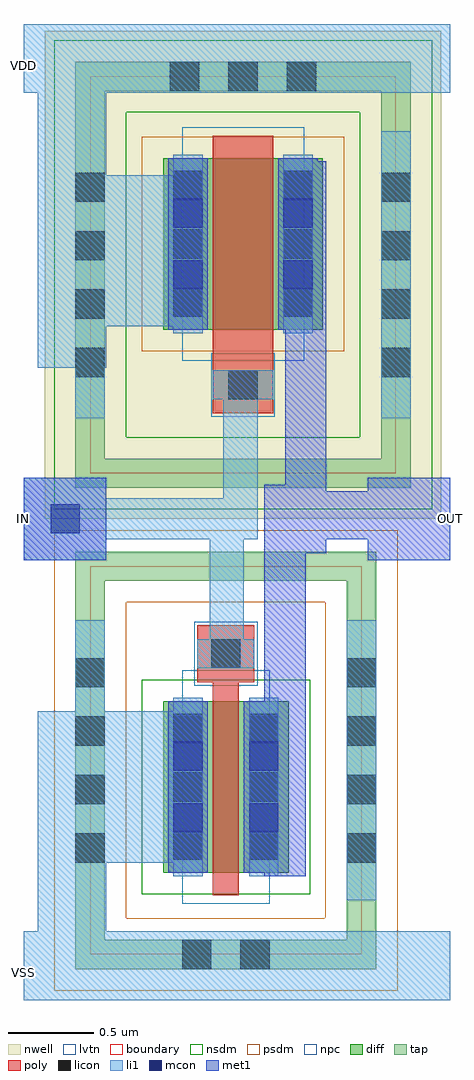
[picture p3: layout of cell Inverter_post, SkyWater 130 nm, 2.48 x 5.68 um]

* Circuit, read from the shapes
.subckt Inverter_post IN OUT VDD VSS
XM1 OUT IN VSS VSS sky130_fd_pr__nfet_01v8_lvt w=1 l=0.15
XM2 OUT IN VDD VDD sky130_fd_pr__pfet_01v8_lvt w=1 l=0.35
.ends

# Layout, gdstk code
import gdstk
lib = gdstk.Library(unit=1e-6, precision=1e-09)
def R(c, l, rs):  # rectangles x0, y0, x1, y1
    for r in rs: c.add(gdstk.rectangle(r[:2], r[2:], *l))
def A(c, l, x, y, w, h, nx, ny, dx, dy):  # array of equal rectangles
    R(c, l, [(x+i*dx, y+j*dy, x+i*dx+w, y+j*dy+h) for i in range(nx) for j in range(ny)])
nwell = (64, 20)
diff = (65, 20)
tap = (65, 44)
poly = (66, 20)
licon = (66, 44)
li1 = (67, 20)
mcon = (67, 44)
met1 = (68, 20)
nsdm = (93, 44)
psdm = (94, 20)
npc = (95, 20)
lvtn = (125, 44)
boundary = (235, 4)

sky130_fd_pr__nfet_01v8_ = lib.new_cell('sky130_fd_pr__nfet_01v8_lvt_THKQM4')
R(sky130_fd_pr__nfet_01v8_, diff, [(-0.365,-0.655,0.365,0.345)])
R(sky130_fd_pr__nfet_01v8_, tap, [(-0.875,-1.215,0.875,-1.045), (-0.875,-1.045,-0.705,1.045), (0.705,-1.045,0.875,1.045), (-0.875,1.045,0.875,1.215)])
R(sky130_fd_pr__nfet_01v8_, poly, [(-0.075,-0.785,0.075,0.455), (-0.165,0.455,0.165,0.785)])
A(sky130_fd_pr__nfet_01v8_, licon, -0.875, -0.595, 0.17, 0.17, 1, 4, 0, 0.34)
A(sky130_fd_pr__nfet_01v8_, licon, 0.705, -0.595, 0.17, 0.17, 1, 4, 0, 0.34)
A(sky130_fd_pr__nfet_01v8_, licon, -0.305, -0.58, 0.17, 0.17, 1, 3, 0, 0.34)
A(sky130_fd_pr__nfet_01v8_, licon, 0.135, -0.58, 0.17, 0.17, 1, 3, 0, 0.34)
R(sky130_fd_pr__nfet_01v8_, licon, [(-0.255,-1.215,-0.085,-1.045), (0.085,-1.215,0.255,-1.045), (-0.085,0.535,0.085,0.705)])
R(sky130_fd_pr__nfet_01v8_, li1, [(-0.475,-1.215,0.475,-1.045), (-0.875,-0.815,-0.705,0.815), (0.705,-0.815,0.875,0.815), (-0.305,-0.675,-0.135,0.365), (0.135,-0.675,0.305,0.365), (-0.165,0.535,0.165,0.705)])
R(sky130_fd_pr__nfet_01v8_, mcon, [(-0.305,-0.42,-0.135,-0.25), (0.135,-0.42,0.305,-0.25), (-0.305,-0.06,-0.135,0.11), (0.135,-0.06,0.305,0.11)])
R(sky130_fd_pr__nfet_01v8_, met1, [(-0.335,-0.655,-0.105,0.345), (0.105,-0.655,0.335,0.345)])
R(sky130_fd_pr__nfet_01v8_, nsdm, [(-0.49,-0.78,0.49,0.47)])
R(sky130_fd_pr__nfet_01v8_, psdm, [(-1,-1.34,1,-0.92), (-1,-0.92,-0.58,0.92), (0.58,-0.92,1,0.92), (-1,0.92,1,1.34)])
R(sky130_fd_pr__nfet_01v8_, npc, [(-0.185,0.435,0.185,0.805)])
R(sky130_fd_pr__nfet_01v8_, lvtn, [(-0.255,-0.835,0.255,0.525)])
R(sky130_fd_pr__nfet_01v8_, boundary, [(-0.79,-1.13,0.79,1.13)])

sky130_fd_pr__pfet_01v8_ = lib.new_cell('sky130_fd_pr__pfet_01v8_lvt_JMGADZ')
R(sky130_fd_pr__pfet_01v8_, nwell, [(-1.155,-1.42,1.155,1.42)])
R(sky130_fd_pr__pfet_01v8_, diff, [(-0.465,-0.32,0.465,0.68)])
R(sky130_fd_pr__pfet_01v8_, tap, [(-0.975,-1.24,0.975,-1.07), (-0.975,-1.07,-0.805,1.07), (0.805,-1.07,0.975,1.07), (-0.975,1.07,0.975,1.24)])
R(sky130_fd_pr__pfet_01v8_, poly, [(-0.175,-0.805,0.175,0.81)])
A(sky130_fd_pr__pfet_01v8_, licon, -0.975, -0.595, 0.17, 0.17, 1, 4, 0, 0.34)
A(sky130_fd_pr__pfet_01v8_, licon, 0.805, -0.595, 0.17, 0.17, 1, 4, 0, 0.34)
A(sky130_fd_pr__pfet_01v8_, licon, -0.405, -0.245, 0.17, 0.17, 1, 3, 0, 0.34)
A(sky130_fd_pr__pfet_01v8_, licon, 0.235, -0.245, 0.17, 0.17, 1, 3, 0, 0.34)
A(sky130_fd_pr__pfet_01v8_, licon, -0.425, 1.07, 0.17, 0.17, 3, 1, 0.34, 0)
R(sky130_fd_pr__pfet_01v8_, licon, [(-0.085,-0.725,0.085,-0.555)])
R(sky130_fd_pr__pfet_01v8_, li1, [(-0.975,-0.835,-0.805,0.835), (0.805,-0.835,0.975,0.835), (-0.175,-0.725,0.175,-0.555), (-0.405,-0.34,-0.235,0.7), (0.235,-0.34,0.405,0.7), (-0.575,1.07,0.575,1.24)])
R(sky130_fd_pr__pfet_01v8_, mcon, [(-0.405,-0.085,-0.235,0.085), (0.235,-0.085,0.405,0.085), (-0.405,0.275,-0.235,0.445), (0.235,0.275,0.405,0.445)])
R(sky130_fd_pr__pfet_01v8_, met1, [(-0.435,-0.32,-0.205,0.68), (0.205,-0.32,0.435,0.68)])
R(sky130_fd_pr__pfet_01v8_, nsdm, [(-1.1,-1.365,1.1,-0.945), (-1.1,-0.945,-0.68,0.945), (0.68,-0.945,1.1,0.945), (-1.1,0.945,1.1,1.365)])
R(sky130_fd_pr__pfet_01v8_, psdm, [(-0.59,-0.445,0.59,0.805)])
R(sky130_fd_pr__pfet_01v8_, npc, [(-0.185,-0.825,0.185,-0.455)])
R(sky130_fd_pr__pfet_01v8_, lvtn, [(-0.355,-0.5,0.355,0.86)])
R(sky130_fd_pr__pfet_01v8_, boundary, [(-0.89,-1.155,0.89,1.155)])

inverter_post = lib.new_cell('Inverter_post')
R(inverter_post, li1, [(-3.12,-1.2,-0.64,-0.8), (-3.04,-0.8,-2.64,-0.4), (-3.04,-0.4,-2.08,0.48), (-2.04,0.8,-1.84,1.48), (-3.12,1.36,-2.64,1.48), (-3.12,1.48,-1.76,1.72), (-3.12,1.72,-2.64,1.84), (-1.96,1.72,-1.76,2.44), (-3.04,2.48,-2.64,2.72), (-3.04,2.72,-2.08,3.6), (-3.04,3.6,-2.64,4.08), (-3.12,4.08,-0.64,4.48)])
R(inverter_post, mcon, [(-2.965,1.515,-2.795,1.685)])
R(inverter_post, met1, [(-1.72,-0.48,-1.48,1.4), (-3.12,1.36,-2.64,1.84), (-1.12,1.36,-0.64,1.48), (-1.72,1.4,-1.36,1.48), (-1.72,1.48,-0.64,1.76), (-1.72,1.76,-1.36,1.8), (-1.12,1.76,-0.64,1.84), (-1.6,1.8,-1.36,3.68)])
inverter_post.add(gdstk.Reference(sky130_fd_pr__nfet_01v8_, (-1.945,0.195)))
inverter_post.add(gdstk.Reference(sky130_fd_pr__pfet_01v8_, (-1.845,3.02)))
inverter_post.add(gdstk.Label('IN', (-3.12,1.6), layer=68, texttype=16))
inverter_post.add(gdstk.Label('VDD', (-3.12,4.24), layer=67, texttype=16))
inverter_post.add(gdstk.Label('VSS', (-3.12,-1.04), layer=67, texttype=16))
inverter_post.add(gdstk.Label('OUT', (-0.64,1.6), layer=68, texttype=16))

lib.write_gds('Inverter_post.gds')
